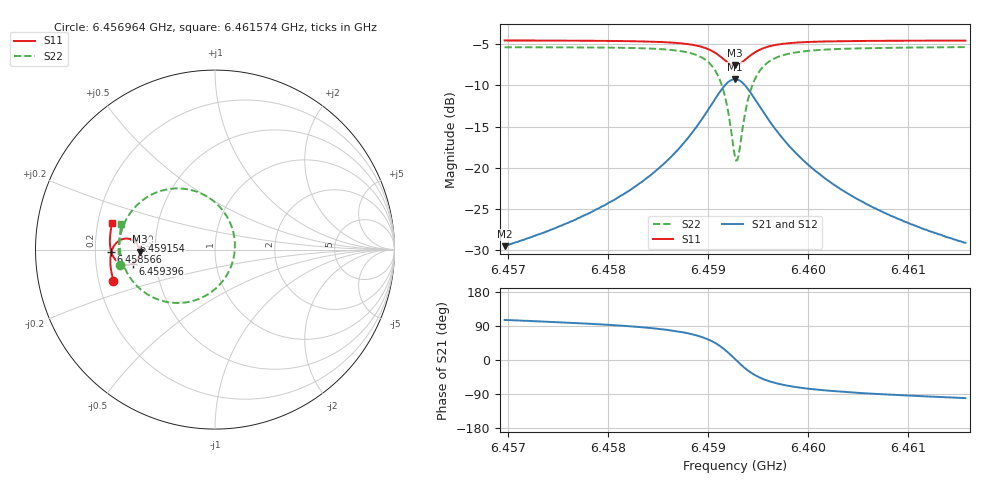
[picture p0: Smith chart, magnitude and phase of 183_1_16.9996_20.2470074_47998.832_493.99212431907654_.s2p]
#  HZ  S  RI  R  50.00
! Rohde & Schwarz Vector Network Analyzer
! Rohde-Schwarz,ZNB20-2Port,1311601062101988,3.16
! Created: UTC 3/20/2024, 11:00:14 PM
! freq[Hz]  re:S11  im:S11  re:S21  im:S21  re:S12  im:S12  re:S22  im:S22
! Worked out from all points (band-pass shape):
!   401 points, 6.456964 GHz to 6.461574 GHz, reference 50 ohm
!   highest |S21| = -9.24 dB at 6.459269 GHz (marker M1); lowest = -29.5 dB at 6.456964 GHz (marker M2)
!   |S21| within 3 dB of the highest: 6.459038 GHz to 6.459499 GHz (460.5 kHz wide, 0.00713 % of centre)
!   lowest |S11| = -7.6 dB at 6.459269 GHz (marker M3), VSWR 2.44, Z = 20.5 - j0.586 ohm
!   |S11| at or under -10 dB: nowhere
!   |S22| runs from -19.1 to -5.4 dB; largest |S21 - S12| = 0.014
!   S11 on the Smith chart (normalised r, x): 6.456964 GHz: 0.26, -0.14; 6.458566 GHz: 0.27, -0.01; 6.459154 GHz: 0.37, +0.05; 6.459396 GHz: 0.37, -0.07; 6.461574 GHz: 0.26, +0.12
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6.456964e9  -0.5659 -0.1745  -0.00904 0.0323  -0.00738 0.0322  -0.5312 -0.0882
6.4577361e9  -0.5801 -0.1071  -0.00586 0.0503  -0.00336 0.0497  -0.5373 0.00215
6.4581626e9  -0.5833 -0.0643  2.39e-05 0.0697  0.0033 0.0685  -0.5294 0.0694
6.4585083e9  -0.5796 -0.023  0.0137 0.0987  0.0177 0.0959  -0.5047 0.1472
6.458566e9  -0.5778 -0.0151  0.0181 0.1056  0.022 0.1025  -0.4967 0.1639
6.4587734e9  -0.5649 0.017  0.0453 0.138  0.0495 0.1332  -0.4453 0.2367
6.4589232e9  -0.5424 0.0436  0.0905 0.1687  0.0937 0.1621  -0.3625 0.3016
6.4590615e9  -0.4986 0.0612  0.1776 0.1856  0.1785 0.1783  -0.2036 0.3409
6.4591537e9  -0.4539 0.0512  0.2676 0.1548  0.2679 0.1488  -0.0371 0.2913
6.4592229e9  -0.4247 0.0191  0.3283 0.0829  0.3304 0.0777  0.0784 0.1625
6.459269e9  -0.4178 -0.0118  0.3449 0.0152  0.3484 0.00835  0.1109 0.0357
6.4592805e9  -0.4182 -0.02  0.3445 -0.00268  0.3484 -0.0101  0.1105 0.00226
6.4593036e9  -0.4217 -0.0356  0.339 -0.0372  0.3428 -0.0463  0.0997 -0.0633
6.4593497e9  -0.4372 -0.0618  0.3107 -0.0971  0.313 -0.1089  0.0424 -0.1763
6.4593958e9  -0.4593 -0.078  0.2688 -0.1382  0.268 -0.1513  -0.0423 -0.2511
6.459488e9  -0.5026 -0.0849  0.1842 -0.1695  0.1782 -0.1809  -0.2101 -0.2973
6.4596378e9  -0.5465 -0.0646  0.0967 -0.1558  0.0883 -0.162  -0.3774 -0.2487
6.4598107e9  -0.5691 -0.0351  0.0496 -0.1263  0.0421 -0.129  -0.4613 -0.1725
6.4600412e9  -0.5809 -0.00135  0.0227 -0.0969  0.0169 -0.0975  -0.5058 -0.0951
6.4603985e9  -0.5857 0.0408  0.0062 -0.0695  0.00218 -0.0691  -0.5278 -0.014
6.4608134e9  -0.5838 0.0824  -0.00126 -0.0518  -0.00404 -0.0509  -0.532 0.0519
6.461574e9  -0.5718 0.1498  -0.00643 -0.0345  -0.00809 -0.0336  -0.521 0.1417
